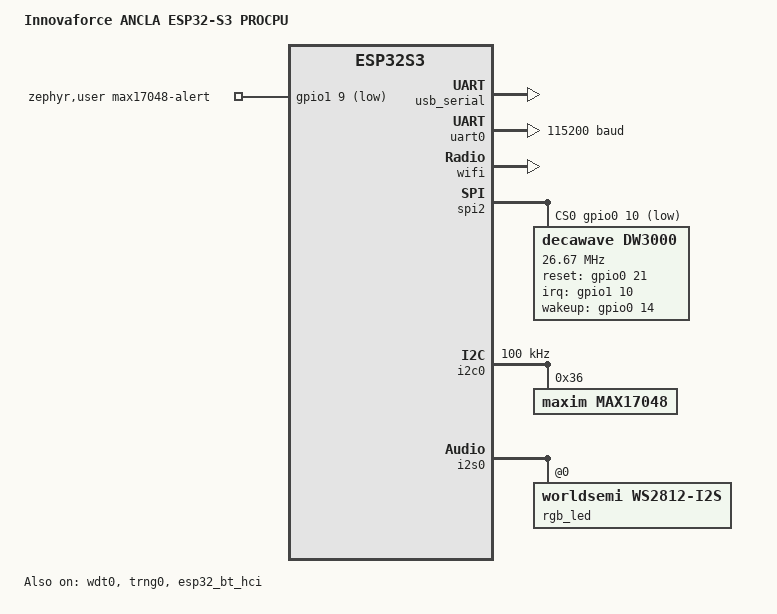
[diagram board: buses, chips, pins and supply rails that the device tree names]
/*
 * Copyright (c) 2026 Innovaforce
 *
 * SPDX-License-Identifier: Apache-2.0
 */
/dts-v1/;

#include <espressif/esp32s3/esp32s3_wroom_n8r2.dtsi>
#include <espressif/partitions_0x0_amp_8M.dtsi>
#include "ancla_esp32s3-pinctrl.dtsi"
#include <zephyr/dt-bindings/led/led.h>

/ {
	model = "Innovaforce ANCLA ESP32-S3 PROCPU";
	compatible = "innovaforce,ancla-esp32s3";

	aliases {
		i2c-0 = &i2c0;
		watchdog0 = &wdt0;
		uart-0 = &uart0;
		rgb0 = &rgb_led;
	};

	chosen {
		zephyr,sram = &sram1;
		zephyr,console = &usb_serial;
		zephyr,shell-uart = &usb_serial;
		zephyr,flash = &flash0;
		zephyr,code-partition = &slot0_partition;
		zephyr,bt-hci = &esp32_bt_hci;
	};

	zephyr,user {
		/* ALERT is open-drain, active-low per the MAX17048 datasheet. */
		max17048-alert-gpios  = <&gpio1 9 GPIO_ACTIVE_LOW>;
	};
};

&usb_serial {
	status = "okay";
};

&uart0 {
	status = "okay";
	current-speed = <115200>;
	pinctrl-0 = <&uart0_default>;
	pinctrl-names = "default";
};

&gpio0 {
	status = "okay";
};

&gpio1 {
	status = "okay";
};

&wdt0 {
	status = "okay";
};

&trng0 {
	status = "okay";
};

&esp32_bt_hci {
	status = "okay";
};

&wifi {
	status = "okay";
};

&spi2 {
	#address-cells = <1>;
	#size-cells = <0>;
	status = "okay";
	pinctrl-0 = <&spim2_default>;
	pinctrl-names = "default";
	/* GPIO-driven CS, not the SPI2 hardware CSEL: the decadriver toggles CS by
	 * hand to wake the DW3220 from DEEPSLEEP, which hardware CS cannot do. GPIO10
	 * is therefore absent from the spim2_default pinctrl group. */
	cs-gpios = <&gpio0 10 GPIO_ACTIVE_LOW>;

	/* DW3220 is a DW3000-family part, so it binds to the decawave,dw3000
	 * compatible from the vendored decadriver module. */
	dw3000: dw3000@0 {
		compatible = "decawave,dw3000";
		reg = <0>;
		status = "okay";
		/* 80 MHz APB / 3. The ESP32-S3 only produces 80/N, so the ladder
		 * is 20 / 26.67 / 40 with nothing between; 40 overruns the
		 * DW3000's ~38 MHz ceiling, making 26.67 the maximum usable rate
		 * on this hardware. Ask for 26670000, not 26000000: the HAL picks
		 * the highest rate NOT EXCEEDING the request, and 80/3 =
		 * 26.666... MHz exceeds 26, so asking for 26 silently gives 20.
		 * GPIO 11/12/13 are the SPI2 IO_MUX pins (FSPID/FSPICLK/FSPIQ),
		 * so there is no GPIO-matrix penalty at this rate. */
		spi-max-frequency = <26670000>;
		/* ACTIVE_HIGH = "reset asserted when the pin is high", because the NPN
		 * inverter inverts: GPIO HIGH -> transistor ON -> RSTn pulled LOW.
		 * Note this is the opposite of the decawave,dw3000 binding's stock
		 * active-low RESET convention, and of the board design spec's pin
		 * table. Determined on hardware 2026-08-10: with ACTIVE_LOW,
		 * dwt_probe() failed because the part was held in reset. */
		reset-gpios  = <&gpio0 21 GPIO_ACTIVE_HIGH>;
		irq-gpios    = <&gpio1 10 GPIO_ACTIVE_HIGH>;
		wakeup-gpios = <&gpio0 14 GPIO_ACTIVE_HIGH>;
	};
};

&i2c0 {
	status = "okay";
	clock-frequency = <I2C_BITRATE_STANDARD>;
	pinctrl-0 = <&i2c0_default>;
	pinctrl-names = "default";

	max17048: max17048@36 {
		compatible = "maxim,max17048";
		reg = <0x36>;
	};
};

&i2s0 {
	status = "okay";
	pinctrl-0 = <&i2s0_default>;
	pinctrl-names = "default";
	dmas = <&dma 3>;
	dma-names = "tx";

	rgb_led: ws2812@0 {
		compatible = "worldsemi,ws2812-i2s";
		reg = <0>;
		chain-length = <1>;
		color-mapping = <LED_COLOR_ID_GREEN LED_COLOR_ID_RED LED_COLOR_ID_BLUE>;
		reset-delay = <500>;
	};
};

&dma {
	status = "okay";
};

&timer3 {
	status = "disabled";
};
